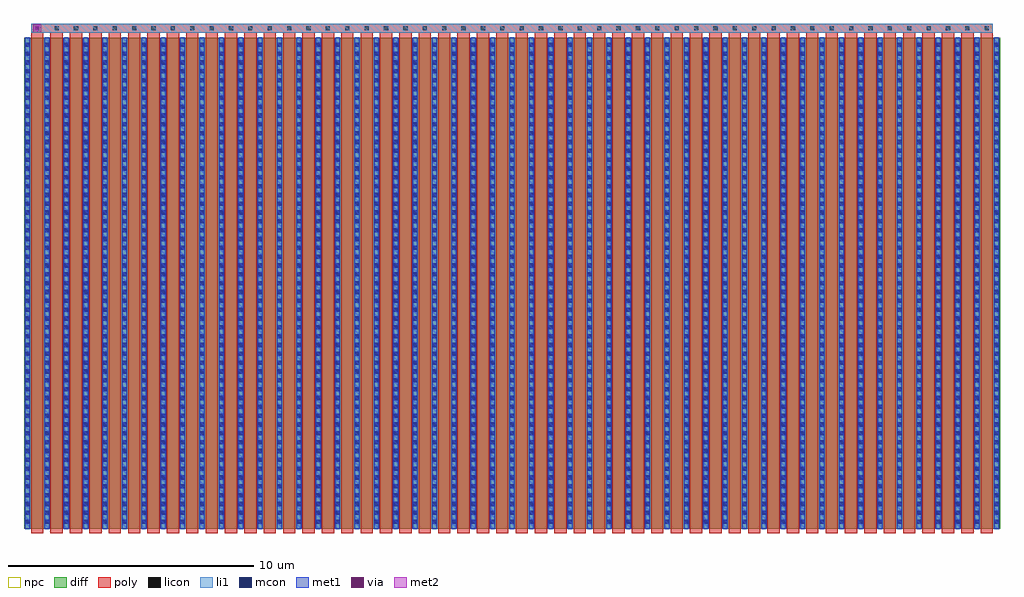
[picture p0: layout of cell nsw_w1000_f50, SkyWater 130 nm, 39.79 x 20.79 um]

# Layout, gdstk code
import gdstk
lib = gdstk.Library(unit=1e-6, precision=1e-09)
def R(c, l, rs):  # rectangles x0, y0, x1, y1
    for r in rs: c.add(gdstk.rectangle(r[:2], r[2:], *l))
def A(c, l, x, y, w, h, nx, ny, dx, dy):  # array of equal rectangles
    R(c, l, [(x+i*dx, y+j*dy, x+i*dx+w, y+j*dy+h) for i in range(nx) for j in range(ny)])
diff = (65, 20)
poly = (66, 20)
licon = (66, 44)
li1 = (67, 20)
mcon = (67, 44)
met1 = (68, 20)
via = (68, 44)
met2 = (69, 20)
npc = (95, 20)

v12 = lib.new_cell('v12')
R(v12, met1, [(-0.165,-0.165,0.165,0.165)])
R(v12, via, [(-0.075,-0.075,0.075,0.075)])
R(v12, met2, [(-0.165,-0.165,0.165,0.165)])

nsw_w1000_f50 = lib.new_cell('nsw_w1000_f50')
R(nsw_w1000_f50, diff, [(0,0,39.79,20)])
A(nsw_w1000_f50, poly, 0.29, -0.2, 0.5, 20.6, 50, 1, 0.79, 0)
R(nsw_w1000_f50, poly, [(0.29,20.22,39.5,20.58)])
A(nsw_w1000_f50, licon, 0.06, 0.195, 0.17, 0.17, 51, 55, 0.79, 0.36)
A(nsw_w1000_f50, licon, 0.455, 20.315, 0.17, 0.17, 50, 1, 0.79, 0)
A(nsw_w1000_f50, li1, 0.06, -0.02, 0.17, 20.04, 51, 1, 0.79, 0)
R(nsw_w1000_f50, li1, [(0.29,20.22,39.5,20.58)])
A(nsw_w1000_f50, mcon, 0.06, 0.195, 0.17, 0.17, 51, 55, 0.79, 0.36)
R(nsw_w1000_f50, mcon, [(0.455,20.315,0.625,20.485)])
A(nsw_w1000_f50, met1, 0.03, 0, 0.23, 20, 51, 1, 0.79, 0)
R(nsw_w1000_f50, npc, [(0.355,20.215,39.435,20.585)])
nsw_w1000_f50.add(gdstk.Reference(v12, (0.54,20.4)))

lib.write_gds('nsw_w1000_f50.gds')
